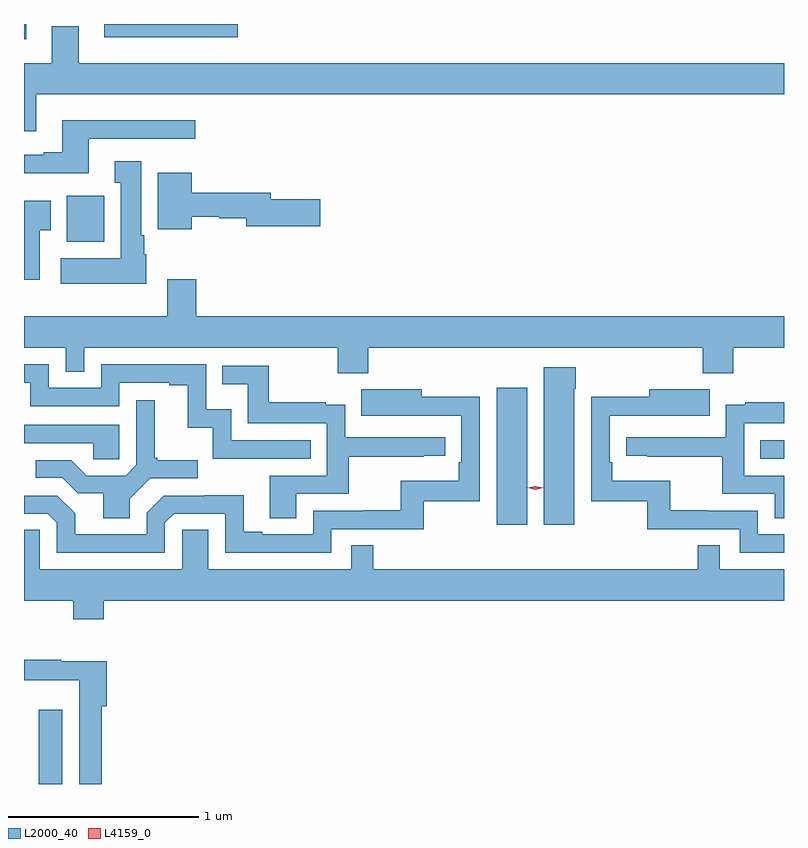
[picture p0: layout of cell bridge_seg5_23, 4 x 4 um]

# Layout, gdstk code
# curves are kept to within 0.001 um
import gdstk
lib = gdstk.Library(unit=1e-6, precision=1e-09)
def R(c, l, rs):  # rectangles x0, y0, x1, y1
    for r in rs: c.add(gdstk.rectangle(r[:2], r[2:], *l))
def P(c, l, *ps):  # polygons
    for p in ps: c.add(gdstk.Polygon(p, *l))
L2000_40 = (2000, 40)
L4159_0 = (4159, 0)

bridge_seg5_23 = lib.new_cell('bridge_seg5_23')
R(bridge_seg5_23, L2000_40, [(1104.422,865.119,1104.544,865.51), (1106.831,866.484,1106.992,867.205), (1108.219,866.832,1108.344,866.928), (1104.569,867.974,1104.766,868.216), (1104.344,869.04,1104.355,869.119), (1104.767,869.048,1105.468,869.119)])
P(bridge_seg5_23, L2000_40, [(1104.409,868.748),(1108.344,868.748),(1108.344,868.912),(1104.631,868.912),(1104.631,869.107),(1104.491,869.107),(1104.491,868.912),(1104.344,868.912),(1104.344,868.554),(1104.409,868.554)],
  [(1104.685,868.515),(1105.246,868.515),(1105.246,868.612),(1104.545,868.612),(1104.545,868.444),(1104.449,868.444),(1104.449,868.431),(1104.344,868.431),(1104.344,868.334),(1104.685,868.334)],
  [(1104.988,867.906),(1104.976,867.906),(1104.976,868.006),(1104.961,868.006),(1104.961,868.396),(1104.821,868.396),(1104.821,868.283),(1104.854,868.283),(1104.854,867.886),(1104.537,867.886),(1104.537,867.752),(1104.988,867.752)],
  [(1105.228,868.104),(1105.371,868.104),(1105.371,868.096),(1105.514,868.096),(1105.514,868.054),(1105.903,868.054),(1105.903,868.196),(1105.642,868.196),(1105.642,868.232),(1105.228,868.232),(1105.228,868.336),(1105.049,868.336),(1105.049,868.04),(1105.228,868.04)],
  [(1104.427,868.033),(1104.484,868.033),(1104.484,868.189),(1104.344,868.189),(1104.344,867.774),(1104.427,867.774)],
  [(1106.156,867.416),(1107.917,867.416),(1107.917,867.281),(1108.077,867.281),(1108.077,867.416),(1108.344,867.416),(1108.344,867.58),(1105.25,867.58),(1105.25,867.775),(1105.097,867.775),(1105.097,867.58),(1104.344,867.58),(1104.344,867.416),(1104.564,867.416),(1104.564,867.289),(1104.66,867.289),(1104.66,867.416),(1105.996,867.416),(1105.996,867.281),(1106.156,867.281)],
  [(1105.853,866.928),(1105.434,866.928),(1105.434,867.091),(1105.302,867.091),(1105.302,867.327),(1104.75,867.327),(1104.75,867.204),(1104.474,867.204),(1104.474,867.327),(1104.344,867.327),(1104.344,867.231),(1104.378,867.231),(1104.378,867.108),(1104.846,867.108),(1104.846,867.231),(1105.109,867.231),(1105.109,867.219),(1105.205,867.219),(1105.205,866.993),(1105.338,866.993),(1105.338,866.832),(1105.853,866.832)],
  [(1105.777,866.646),(1106.054,866.646),(1106.054,866.842),(1106.447,866.842),(1106.447,866.847),(1106.56,866.847),(1106.56,866.943),(1106.034,866.943),(1106.034,867.115),(1105.931,867.115),(1105.931,867.127),(1105.633,867.127),(1105.633,867.321),(1105.387,867.321),(1105.387,867.224),(1105.522,867.224),(1105.522,867.018),(1105.938,867.018),(1105.938,866.742),(1105.637,866.742),(1105.637,866.518),(1105.777,866.518)],
  [(1107.241,867.2),(1107.249,867.2),(1107.249,867.313),(1107.08,867.313),(1107.08,866.484),(1107.241,866.484)],
  [(1108.344,866.433),(1108.206,866.433),(1108.206,866.556),(1107.941,866.556),(1107.941,866.561),(1107.745,866.561),(1107.745,866.716),(1107.44,866.716),(1107.44,866.812),(1107.426,866.812),(1107.426,867.057),(1107.739,867.057),(1107.739,867.056),(1107.953,867.056),(1107.953,867.196),(1107.635,867.196),(1107.635,867.158),(1107.33,867.158),(1107.33,866.607),(1107.624,866.607),(1107.624,866.46),(1108.11,866.46),(1108.11,866.337),(1108.344,866.337)],
  [(1105.086,866.493),(1105.134,866.541),(1105.404,866.541),(1105.404,866.337),(1105.962,866.337),(1105.962,866.46),(1106.449,866.46),(1106.449,866.607),(1106.742,866.607),(1106.742,867.158),(1106.437,867.158),(1106.437,867.196),(1106.119,867.196),(1106.119,867.056),(1106.646,867.057),(1106.646,866.812),(1106.633,866.812),(1106.633,866.716),(1106.328,866.716),(1106.328,866.561),(1106.131,866.561),(1106.131,866.556),(1105.866,866.556),(1105.866,866.433),(1105.597,866.433),(1105.597,866.446),(1105.501,866.446),(1105.501,866.639),(1105.296,866.639),(1105.296,866.637),(1105.08,866.637),(1104.99,866.547),(1104.99,866.433),(1104.613,866.433),(1104.613,866.543),(1104.519,866.637),(1104.344,866.637),(1104.344,866.541),(1104.468,866.541),(1104.516,866.493),(1104.516,866.337),(1105.086,866.337)],
  [(1104.901,866.62),(1105.008,866.727),(1105.258,866.727),(1105.258,866.824),(1105.045,866.824),(1105.045,866.836),(1105.033,866.836),(1105.033,867.139),(1104.936,867.139),(1104.936,866.799),(1104.879,866.742),(1104.673,866.742),(1104.592,866.823),(1104.405,866.823),(1104.405,866.73),(1104.546,866.73),(1104.626,866.65),(1104.761,866.65),(1104.761,866.518),(1104.901,866.518)],
  [(1108.344,866.742),(1108.134,866.742),(1108.134,867.018),(1108.344,867.018),(1108.344,867.127),(1108.141,867.127),(1108.141,867.115),(1108.038,867.115),(1108.038,866.943),(1107.513,866.943),(1107.513,866.847),(1107.625,866.847),(1107.625,866.842),(1108.018,866.842),(1108.018,866.646),(1108.295,866.646),(1108.295,866.518),(1108.344,866.518)],
  [(1104.846,867.009),(1104.344,867.009),(1104.344,866.913),(1104.709,866.913),(1104.709,866.829),(1104.846,866.829)],
  [(1104.764,866.084),(1108.344,866.084),(1108.344,866.248),(1108.005,866.248),(1108.005,866.375),(1107.889,866.375),(1107.889,866.248),(1106.183,866.248),(1106.183,866.375),(1106.067,866.375),(1106.067,866.248),(1105.315,866.248),(1105.315,866.456),(1105.176,866.456),(1105.176,866.248),(1104.426,866.248),(1104.426,866.456),(1104.344,866.456),(1104.344,866.084),(1104.604,866.084),(1104.604,865.985),(1104.764,865.985)],
  [(1104.752,865.529),(1104.779,865.529),(1104.779,865.764),(1104.539,865.764),(1104.539,865.774),(1104.344,865.774),(1104.344,865.665),(1104.426,865.665),(1104.426,865.664),(1104.636,865.664),(1104.636,865.119),(1104.752,865.119)])
P(bridge_seg5_23, L4159_0, [(1107.036,866.667),(1106.996,866.677),(1106.996,866.677),(1106.996,866.677),(1107.036,866.687),(1107.076,866.677),(1107.076,866.677),(1107.076,866.677)])

lib.write_gds('bridge_seg5_23.gds')
